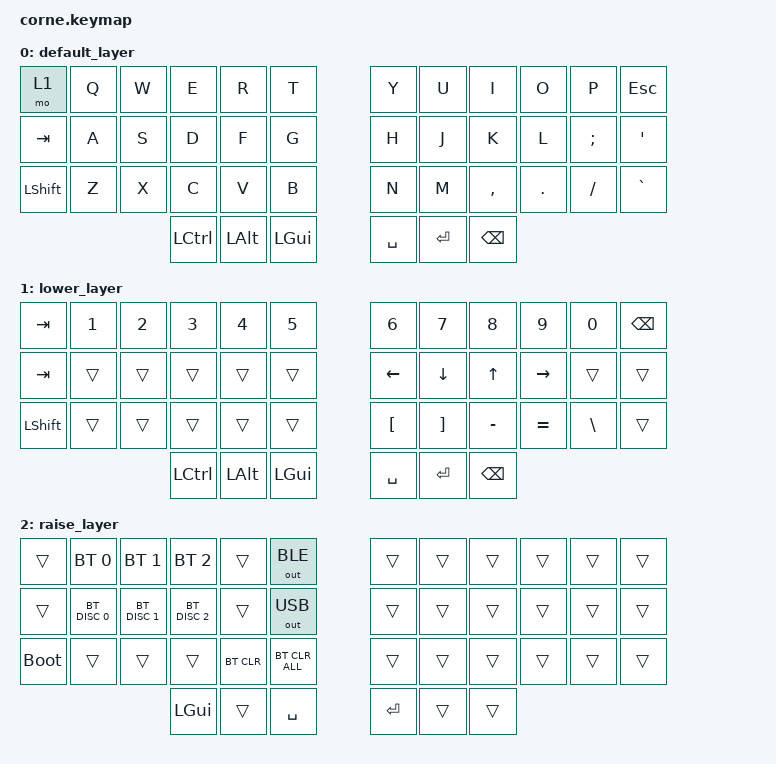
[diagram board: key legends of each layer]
/*
 * Copyright (c) 2020 The ZMK Contributors
 *
 * SPDX-License-Identifier: MIT
 */

#include <behaviors.dtsi>
#include <dt-bindings/zmk/bt.h>
#include <dt-bindings/zmk/keys.h>
#include <dt-bindings/zmk/outputs.h>

/ {
    combos {
        compatible = "zmk,combos";

        bt-config {
            bindings = <&mo 2>;
            key-positions = <0 12>;
        };
    };

    keymap {
        compatible = "zmk,keymap";

        default_layer {
            // -----------------------------------------------------------------------------------------
            // |  TAB |  Q  |  W  |  E  |  R  |  T  |   |  Y  |  U   |  I  |  O  |  P  | BKSP |
            // | CTRL |  A  |  S  |  D  |  F  |  G  |   |  H  |  J   |  K  |  L  |  ;  |  '   |
            // | SHFT |  Z  |  X  |  C  |  V  |  B  |   |  N  |  M   |  ,  |  .  |  /  | ESC  |
            //                    | GUI | LWR | SPC |   | ENT | RSE  | ALT |

            bindings = <
&mo 1      &kp Q  &kp W  &kp E      &kp R         &kp T           &kp Y      &kp U      &kp I          &kp O    &kp P     &kp ESC
&kp TAB    &kp A  &kp S  &kp D      &kp F         &kp G           &kp H      &kp J      &kp K          &kp L    &kp SEMI  &kp SQT
&kp LSHFT  &kp Z  &kp X  &kp C      &kp V         &kp B           &kp N      &kp M      &kp COMMA      &kp DOT  &kp FSLH  &kp GRAVE
                         &kp LCTRL  &kp LEFT_ALT  &kp LEFT_GUI    &kp SPACE  &kp ENTER  &kp BACKSPACE
            >;
        };

        lower_layer {
            // -----------------------------------------------------------------------------------------
            // |  TAB |  1  |  2  |  3  |  4  |  5  |   |  6  |  7  |  8  |  9  |  0  | BKSP |
            // | BTCLR| BT1 | BT2 | BT3 | BT4 | BT5 |   | LFT | DWN |  UP | RGT |     |      |
            // | SHFT |     |     |     |     |     |   |     |     |     |     |     |      |
            //                    | GUI |     | SPC |   | ENT |     | ALT |

            bindings = <
&kp TAB    &kp N1  &kp N2  &kp N3     &kp N4        &kp N5          &kp N6            &kp N7             &kp N8         &kp N9     &kp N0         &kp BSPC
&kp TAB    &trans  &trans  &trans     &trans        &trans          &kp LEFT          &kp DOWN           &kp UP         &kp RIGHT  &trans         &trans
&kp LSHFT  &trans  &trans  &trans     &trans        &trans          &kp LEFT_BRACKET  &kp RIGHT_BRACKET  &kp MINUS      &kp EQUAL  &kp BACKSLASH  &trans
                           &kp LCTRL  &kp LEFT_ALT  &kp LEFT_GUI    &kp SPACE         &kp ENTER          &kp BACKSPACE
            >;
        };

        raise_layer {
            // -----------------------------------------------------------------------------------------
            // |  TAB |  !  |  @  |  #  |  $  |  %  |   |  ^  |  &  |  *  |  (  |  )  | BKSP |
            // | CTRL |     |     |     |     |     |   |  -  |  =  |  [  |  ]  |  \  |  `   |
            // | SHFT |     |     |     |     |     |   |  _  |  +  |  {  |  }  | "|" |  ~   |
            //                    | GUI |     | SPC |   | ENT |     | ALT |

            bindings = <
&trans       &bt BT_SEL 0   &bt BT_SEL 1   &bt BT_SEL 2   &trans      &out OUT_BLE      &trans   &trans  &trans  &trans  &trans  &trans
&trans       &bt BT_DISC 0  &bt BT_DISC 1  &bt BT_DISC 2  &trans      &out OUT_USB      &trans   &trans  &trans  &trans  &trans  &trans
&bootloader  &trans         &trans         &trans         &bt BT_CLR  &bt BT_CLR_ALL    &trans   &trans  &trans  &trans  &trans  &trans
                                           &kp LGUI       &trans      &kp SPACE         &kp RET  &trans  &trans
            >;
        };
    };
};
